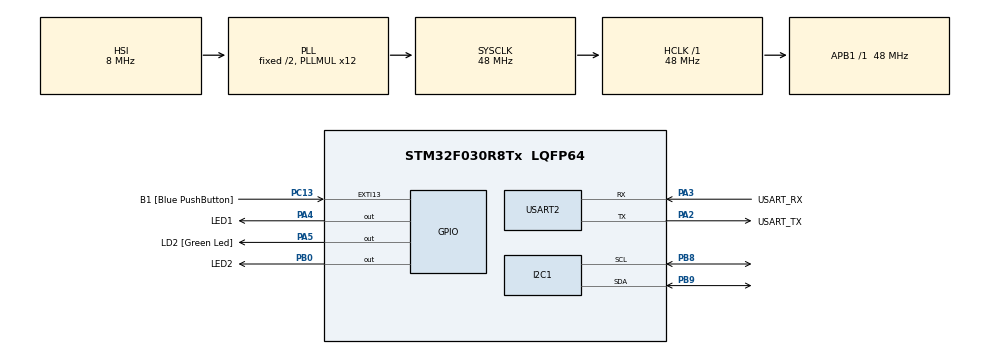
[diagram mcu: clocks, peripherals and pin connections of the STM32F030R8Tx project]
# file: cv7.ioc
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FREERTOS.Queues01=xVisualQueue,16,int16_t,0,Dynamic,NULL,NULL
FREERTOS.Tasks01=defaultTask,0,128,StartDefaultTask,Default,NULL,Dynamic,NULL,NULL;VisualTask,0,128,StartVisualTask,Default,NULL,Dynamic,NULL,NULL;AcceleroTask,0,128,StartAcceleroTask,Default,NULL,Dynamic,NULL,NULL
FREERTOS.configUSE_NEWLIB_REENTRANT=1
Mcu.Family=STM32F0
Mcu.Name=STM32F030R8Tx
Mcu.Package=LQFP64
NVIC.TIM14_IRQn=true\:3\:0\:false\:false\:true\:false\:false\:true\:true
NVIC.TimeBase=TIM14_IRQn
NVIC.TimeBaseIP=TIM14
PA13.GPIO_Label=TMS
PA13.Mode=Serial_Wire
PA13.Signal=SYS_SWDIO
PA14.GPIO_Label=TCK
PA14.Mode=Serial_Wire
PA14.Signal=SYS_SWCLK
PA2.GPIO_Label=USART_TX
PA2.GPIO_Mode=GPIO_MODE_AF_PP
PA2.GPIO_PuPd=GPIO_NOPULL
PA2.GPIO_Speed=GPIO_SPEED_FREQ_LOW
PA2.Mode=Asynchronous
PA2.Signal=USART2_TX
PA3.GPIO_Label=USART_RX
PA3.GPIO_Mode=GPIO_MODE_AF_PP
PA3.GPIO_PuPd=GPIO_NOPULL
PA3.GPIO_Speed=GPIO_SPEED_FREQ_LOW
PA3.Mode=Asynchronous
PA3.Signal=USART2_RX
PA4.GPIO_Label=LED1
PA4.Signal=GPIO_Output
PA5.GPIO_Label=LD2 [Green Led]
PA5.GPIO_Mode=GPIO_MODE_OUTPUT_PP
PA5.GPIO_PuPd=GPIO_NOPULL
PA5.GPIO_Speed=GPIO_SPEED_FREQ_LOW
PA5.Signal=GPIO_Output
PB0.GPIO_Label=LED2
PB0.Signal=GPIO_Output
PB8.Mode=I2C
PB8.Signal=I2C1_SCL
PB9.Mode=I2C
PB9.Signal=I2C1_SDA
PC13.GPIO_Label=B1 [Blue PushButton]
PC13.GPIO_ModeDefaultEXTI=GPIO_MODE_IT_FALLING
PC13.Signal=GPXTI13
PC14-OSC32_IN.Mode=LSE-External-Oscillator
PC14-OSC32_IN.Signal=RCC_OSC32_IN
PC15-OSC32_OUT.Mode=LSE-External-Oscillator
PC15-OSC32_OUT.Signal=RCC_OSC32_OUT
PF0-OSC_IN.Mode=HSE-External-Clock-Source
PF0-OSC_IN.Signal=RCC_OSC_IN
PF1-OSC_OUT.Signal=RCC_OSC_OUT
ProjectManager.HeapSize=0x200
ProjectManager.StackSize=0x400
ProjectManager.TargetToolchain=STM32CubeIDE
RCC.AHBFreq_Value=48000000
RCC.APB1Freq_Value=48000000
RCC.APB1TimFreq_Value=48000000
RCC.HCLKFreq_Value=48000000
RCC.PLLMUL=RCC_PLL_MUL12
RCC.SYSCLKFreq_VALUE=48000000
RCC.SYSCLKSource=RCC_SYSCLKSOURCE_PLLCLK
USART2.VirtualMode-Asynchronous=VM_ASYNC
VP_FREERTOS_VS_CMSIS_V1.Mode=CMSIS_V1
VP_SYS_VS_tim14.Mode=TIM14
board=NUCLEO-F030R8

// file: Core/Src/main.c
/* USER CODE BEGIN Header */
/**
  ******************************************************************************
  * @file           : main.c
  * @brief          : Main program body
  ******************************************************************************
  * @attention
  *
  * Copyright (c) 2023 STMicroelectronics.
  * All rights reserved.
  *
  * This software is licensed under terms that can be found in the LICENSE file
  * in the root directory of this software component.
  * If no LICENSE file comes with this software, it is provided AS-IS.
  *
  ******************************************************************************
  */
/* USER CODE END Header */
#include "main.h"
#include "cmsis_os.h"

/* USER CODE BEGIN Includes */
#include "lis2dw12_reg.h"
#include <stdio.h>

/* USER CODE END Includes */

I2C_HandleTypeDef hi2c1;

UART_HandleTypeDef huart2;

osThreadId defaultTaskHandle;
osThreadId VisualTaskHandle;
osThreadId AcceleroTaskHandle;
osMessageQId xVisualQueueHandle;

void SystemClock_Config(void);
static void MX_GPIO_Init(void);
static void MX_USART2_UART_Init(void);
static void MX_I2C1_Init(void);
void StartDefaultTask(void const * argument);
void StartVisualTask(void const * argument);
void StartAcceleroTask(void const * argument);

/* USER CODE BEGIN 0 */
static int32_t platform_write(void *handle, uint8_t reg, uint8_t *bufp,
		uint16_t len);
static int32_t platform_read(void *handle, uint8_t reg, uint8_t *bufp,
		uint16_t len);
static stmdev_ctx_t lis2dw12 = { .write_reg = platform_write, .read_reg =
		platform_read, .handle = &hi2c1, };

int _write(int file, char const *buf, int n) {
	/* Stout redirection to UART2 */
	HAL_UART_Transmit(&huart2, (uint8_t*) (buf), n, HAL_MAX_DELAY);
	return n;
}

static int32_t platform_write(void *handle, uint8_t reg, uint8_t *bufp,
		uint16_t len) {
	HAL_I2C_Mem_Write(handle, LIS2DW12_I2C_ADD_H, reg, I2C_MEMADD_SIZE_8BIT,
			bufp, len, 1000);
	return 0;
}
static int32_t platform_read(void *handle, uint8_t reg, uint8_t *bufp,
		uint16_t len) {
	HAL_I2C_Mem_Read(handle, LIS2DW12_I2C_ADD_H, reg, I2C_MEMADD_SIZE_8BIT,
			bufp, len, 1000);
	return 0;
}

/* USER CODE END 0 */

int main(void)
{

	/* MCU Configuration--------------------------------------------------------*/

	/* Reset of all peripherals, Initializes the Flash interface and the Systick. */
  HAL_Init();

  /* Configure the system clock */
  SystemClock_Config();

  /* Initialize all configured peripherals */
  MX_GPIO_Init();
  MX_USART2_UART_Init();
  MX_I2C1_Init();

  /* Create the queue(s) */
  /* definition and creation of xVisualQueue */
  osMessageQDef(xVisualQueue, 16, int16_t);
  xVisualQueueHandle = osMessageCreate(osMessageQ(xVisualQueue), NULL);

  /* Create the thread(s) */
  /* definition and creation of defaultTask */
  osThreadDef(defaultTask, StartDefaultTask, osPriorityNormal, 0, 128);
  defaultTaskHandle = osThreadCreate(osThread(defaultTask), NULL);

  /* definition and creation of VisualTask */
  osThreadDef(VisualTask, StartVisualTask, osPriorityNormal, 0, 128);
  VisualTaskHandle = osThreadCreate(osThread(VisualTask), NULL);

  /* definition and creation of AcceleroTask */
  osThreadDef(AcceleroTask, StartAcceleroTask, osPriorityNormal, 0, 128);
  AcceleroTaskHandle = osThreadCreate(osThread(AcceleroTask), NULL);

  /* Start scheduler */
  osKernelStart();

  /* We should never get here as control is now taken by the scheduler */
  /* Infinite loop */
  while (1)
  {

  }
}

void SystemClock_Config(void)
{
  RCC_OscInitTypeDef RCC_OscInitStruct = {0};
  RCC_ClkInitTypeDef RCC_ClkInitStruct = {0};
  RCC_PeriphCLKInitTypeDef PeriphClkInit = {0};

  /** Initializes the RCC Oscillators according to the specified parameters
  * in the RCC_OscInitTypeDef structure.
  */
  RCC_OscInitStruct.OscillatorType = RCC_OSCILLATORTYPE_HSI;
  RCC_OscInitStruct.HSIState = RCC_HSI_ON;
  RCC_OscInitStruct.HSICalibrationValue = RCC_HSICALIBRATION_DEFAULT;
  RCC_OscInitStruct.PLL.PLLState = RCC_PLL_ON;
  RCC_OscInitStruct.PLL.PLLSource = RCC_PLLSOURCE_HSI;
  RCC_OscInitStruct.PLL.PLLMUL = RCC_PLL_MUL12;
  RCC_OscInitStruct.PLL.PREDIV = RCC_PREDIV_DIV1;
  if (HAL_RCC_OscConfig(&RCC_OscInitStruct) != HAL_OK)
  {
    Error_Handler();
  }

  /** Initializes the CPU, AHB and APB buses clocks
  */
  RCC_ClkInitStruct.ClockType = RCC_CLOCKTYPE_HCLK|RCC_CLOCKTYPE_SYSCLK
                              |RCC_CLOCKTYPE_PCLK1;
  RCC_ClkInitStruct.SYSCLKSource = RCC_SYSCLKSOURCE_PLLCLK;
  RCC_ClkInitStruct.AHBCLKDivider = RCC_SYSCLK_DIV1;
  RCC_ClkInitStruct.APB1CLKDivider = RCC_HCLK_DIV1;

  if (HAL_RCC_ClockConfig(&RCC_ClkInitStruct, FLASH_LATENCY_1) != HAL_OK)
  {
    Error_Handler();
  }
  PeriphClkInit.PeriphClockSelection = RCC_PERIPHCLK_I2C1;
  PeriphClkInit.I2c1ClockSelection = RCC_I2C1CLKSOURCE_HSI;
  if (HAL_RCCEx_PeriphCLKConfig(&PeriphClkInit) != HAL_OK)
  {
    Error_Handler();
  }
}

static void MX_I2C1_Init(void)
{

  hi2c1.Instance = I2C1;
  hi2c1.Init.Timing = 0x2000090E;
  hi2c1.Init.OwnAddress1 = 0;
  hi2c1.Init.AddressingMode = I2C_ADDRESSINGMODE_7BIT;
  hi2c1.Init.DualAddressMode = I2C_DUALADDRESS_DISABLE;
  hi2c1.Init.OwnAddress2 = 0;
  hi2c1.Init.OwnAddress2Masks = I2C_OA2_NOMASK;
  hi2c1.Init.GeneralCallMode = I2C_GENERALCALL_DISABLE;
  hi2c1.Init.NoStretchMode = I2C_NOSTRETCH_DISABLE;
  if (HAL_I2C_Init(&hi2c1) != HAL_OK)
  {
    Error_Handler();
  }

  /** Configure Analogue filter
  */
  if (HAL_I2CEx_ConfigAnalogFilter(&hi2c1, I2C_ANALOGFILTER_ENABLE) != HAL_OK)
  {
    Error_Handler();
  }

  /** Configure Digital filter
  */
  if (HAL_I2CEx_ConfigDigitalFilter(&hi2c1, 0) != HAL_OK)
  {
    Error_Handler();
  }

}

static void MX_USART2_UART_Init(void)
{

  huart2.Instance = USART2;
  huart2.Init.BaudRate = 38400;
  huart2.Init.WordLength = UART_WORDLENGTH_8B;
  huart2.Init.StopBits = UART_STOPBITS_1;
  huart2.Init.Parity = UART_PARITY_NONE;
  huart2.Init.Mode = UART_MODE_TX_RX;
  huart2.Init.HwFlowCtl = UART_HWCONTROL_NONE;
  huart2.Init.OverSampling = UART_OVERSAMPLING_16;
  huart2.Init.OneBitSampling = UART_ONE_BIT_SAMPLE_DISABLE;
  huart2.AdvancedInit.AdvFeatureInit = UART_ADVFEATURE_NO_INIT;
  if (HAL_UART_Init(&huart2) != HAL_OK)
  {
    Error_Handler();
  }

}

static void MX_GPIO_Init(void)
{
  GPIO_InitTypeDef GPIO_InitStruct = {0};

  /* GPIO Ports Clock Enable */
  __HAL_RCC_GPIOC_CLK_ENABLE();
  __HAL_RCC_GPIOF_CLK_ENABLE();
  __HAL_RCC_GPIOA_CLK_ENABLE();
  __HAL_RCC_GPIOB_CLK_ENABLE();

  /*Configure GPIO pin Output Level */
  HAL_GPIO_WritePin(GPIOA, LED1_Pin|LD2_Pin, GPIO_PIN_RESET);

  /*Configure GPIO pin Output Level */
  HAL_GPIO_WritePin(LED2_GPIO_Port, LED2_Pin, GPIO_PIN_RESET);

  /*Configure GPIO pin : B1_Pin */
  GPIO_InitStruct.Pin = B1_Pin;
  GPIO_InitStruct.Mode = GPIO_MODE_IT_FALLING;
  GPIO_InitStruct.Pull = GPIO_NOPULL;
  HAL_GPIO_Init(B1_GPIO_Port, &GPIO_InitStruct);

  /*Configure GPIO pins : LED1_Pin LD2_Pin */
  GPIO_InitStruct.Pin = LED1_Pin|LD2_Pin;
  GPIO_InitStruct.Mode = GPIO_MODE_OUTPUT_PP;
  GPIO_InitStruct.Pull = GPIO_NOPULL;
  GPIO_InitStruct.Speed = GPIO_SPEED_FREQ_LOW;
  HAL_GPIO_Init(GPIOA, &GPIO_InitStruct);

  /*Configure GPIO pin : LED2_Pin */
  GPIO_InitStruct.Pin = LED2_Pin;
  GPIO_InitStruct.Mode = GPIO_MODE_OUTPUT_PP;
  GPIO_InitStruct.Pull = GPIO_NOPULL;
  GPIO_InitStruct.Speed = GPIO_SPEED_FREQ_LOW;
  HAL_GPIO_Init(LED2_GPIO_Port, &GPIO_InitStruct);

}

void StartDefaultTask(void const * argument)
{
  /* USER CODE BEGIN 5 */
	/* Infinite loop */
	for(;;)
	{
//		int16_t msg;
//		msg = 00;
//		xQueueSend(xVisualQueueHandle, &msg, 0);
//		osDelay(300);
		osDelay(1);
	}
  /* USER CODE END 5 */
}

void StartVisualTask(void const * argument)
{
	/* USER CODE BEGIN StartVisualTask */
	/* Infinite loop */
	for(;;)
	{
		int16_t msg;
		//		if (xQueueReceive(xVisualQueueHandle, &msg, portMAX_DELAY)) {
		//			if (msg > 1000){
		//				HAL_GPIO_WritePin(LED1_GPIO_Port, LED1_Pin, GPIO_PIN_SET);
		//				HAL_GPIO_WritePin(LED2_GPIO_Port, LED2_Pin, GPIO_PIN_RESET);
		//			}
		//
		//			else if(msg < -1000){
		//				HAL_GPIO_WritePin(LED2_GPIO_Port, LED2_Pin, GPIO_PIN_SET);
		//				HAL_GPIO_WritePin(LED1_GPIO_Port, LED1_Pin, GPIO_PIN_RESET);
		//			}
		//
		//		  else {
		//			  HAL_GPIO_WritePin(LED2_GPIO_Port, LED2_Pin, GPIO_PIN_RESET);
		//			  HAL_GPIO_WritePin(LED1_GPIO_Port, LED1_Pin, GPIO_PIN_RESET);
		//		  }
		//	  }
		if (xQueueReceive(xVisualQueueHandle, &msg, portMAX_DELAY)) {
			if (msg < -1000) {
				HAL_GPIO_WritePin(LED1_GPIO_Port, LED1_Pin, GPIO_PIN_SET);
			} else {
				HAL_GPIO_WritePin(LED1_GPIO_Port, LED1_Pin, GPIO_PIN_RESET);
			}

			if (msg > 1000) {
				HAL_GPIO_WritePin(LED2_GPIO_Port, LED2_Pin, GPIO_PIN_SET);
			}

			else {
				HAL_GPIO_WritePin(LED2_GPIO_Port, LED2_Pin, GPIO_PIN_RESET);
			}
		}
	}

	osDelay(50);
}

/* USER CODE END StartVisualTask */

void StartAcceleroTask(void const * argument)
{
	/* USER CODE BEGIN StartAcceleroTask */
	uint8_t whoamI = 0;
	uint8_t samples;
	int16_t raw_acceleration[3];

	uint32_t set_tick = 0;

	lis2dw12_device_id_get(&lis2dw12, &whoamI);
	printf("LIS2DW12_ID %s\n", (whoamI == LIS2DW12_ID) ? "OK" : "FAIL");

	lis2dw12_full_scale_set(&lis2dw12, LIS2DW12_2g);
	lis2dw12_power_mode_set(&lis2dw12, LIS2DW12_CONT_LOW_PWR_LOW_NOISE_2);
	lis2dw12_block_data_update_set(&lis2dw12, PROPERTY_ENABLE);
	lis2dw12_fifo_mode_set(&lis2dw12, LIS2DW12_STREAM_MODE); // enable continuous FIFO
	lis2dw12_data_rate_set(&lis2dw12, LIS2DW12_XL_ODR_25Hz); // enable part from power-down
	/* Infinite loop */
	for(;;)
	{
		// Check device ID

		lis2dw12_fifo_data_level_get(&lis2dw12, &samples);
		for (uint8_t i = 0; i < samples; i++) {

			// Read acceleration data
			lis2dw12_acceleration_raw_get(&lis2dw12, raw_acceleration);

			// Serial print by using xTaskGetTickCount after 1 second
			if (xTaskGetTickCount() >= (set_tick + 1000)) {
				printf("X=%d Y=%d Z=%d\n", raw_acceleration[0], raw_acceleration[1], raw_acceleration[2]);
				set_tick = xTaskGetTickCount();
			}

			xQueueSend(xVisualQueueHandle, &raw_acceleration[0], 0);
			osDelay(1);
		}

	}
	/* USER CODE END StartAcceleroTask */
}

void HAL_TIM_PeriodElapsedCallback(TIM_HandleTypeDef *htim)
{
	if (htim->Instance == TIM14) {
		HAL_IncTick();
	}
}

void Error_Handler(void)
{
	__disable_irq();
	while (1)
	{
	}
}
